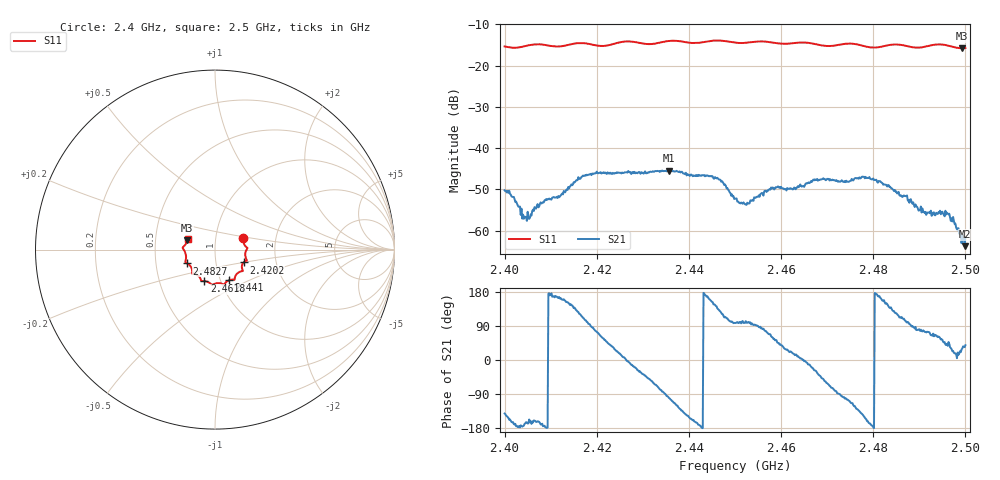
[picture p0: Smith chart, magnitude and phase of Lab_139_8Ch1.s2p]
# Hz S RI R 50
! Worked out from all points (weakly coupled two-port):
!   601 points, 2.4 GHz to 2.5 GHz, reference 50 ohm
!   highest |S21| = -45.41 dB at 2.4357 GHz (marker M1); lowest = -63.7 dB at 2.4998 GHz (marker M2)
!   lowest |S11| = -15.8 dB at 2.4993 GHz (marker M3), VSWR 1.39, Z = 36.5 + j3.8 ohm
!   |S11| at or under -10 dB: start of sweep to end of sweep
!   S12 and S22 are empty: the file has one direction only
!   S11 on the Smith chart (normalised r, x): 2.4 GHz: 1.36, +0.18; 2.4202 GHz: 1.36, -0.20; 2.441 GHz: 1.10, -0.39; 2.4618 GHz: 0.84, -0.30; 2.4827 GHz: 0.72, -0.11; 2.5 GHz: 0.73, +0.09
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2.4e9  0.1587 0.0625  -0.00241 -0.00194  0 0  0 0
2.405e9  0.1743 0.0141  -0.00166 -0.000366  0 0  0 0
2.4075e9  0.1807 0.00771  -0.00189 -0.000562  0 0  0 0
2.416667e9  0.1773 -0.0608  -0.00198 0.00402  0 0  0 0
2.420167e9  0.1591 -0.0715  0.00152 0.00476  0 0  0 0
2.433333e9  0.1118 -0.1507  0.00163 -0.00503  0 0  0 0
2.435667e9  0.1093 -0.166  -0.000944 -0.00528  0 0  0 0
2.441e9  0.0788 -0.17  -0.00435 -0.00172  0 0  0 0
2.446333e9  0.0491 -0.1953  -0.00297 0.00306  0 0  0 0
2.45e9  0.0287 -0.1874  -0.000329 0.00242  0 0  0 0
2.452667e9  0.00229 -0.1893  -0.000317 0.00216  0 0  0 0
2.457833e9  -0.0243 -0.1898  0.00154 0.00297  0 0  0 0
2.461833e9  -0.0591 -0.1755  0.00302 0.00114  0 0  0 0
2.466667e9  -0.0788 -0.1682  0.00367 -0.00134  0 0  0 0
2.478e9  -0.1274 -0.1161  -0.00388 -0.00228  0 0  0 0
2.482667e9  -0.1557 -0.077  -0.00308 0.00189  0 0  0 0
2.483333e9  -0.1602 -0.0751  -0.00279 0.00224  0 0  0 0
2.491e9  -0.1676 -0.0122  0.000396 0.00166  0 0  0 0
2.496167e9  -0.1741 0.0179  0.00128 0.000981  0 0  0 0
2.499333e9  -0.1542 0.0507  0.000753 0.000444  0 0  0 0
2.499833e9  -0.1527 0.058  0.00054 0.000364  0 0  0 0
2.5e9  -0.1523 0.0604  0.000646 0.000523  0 0  0 0
